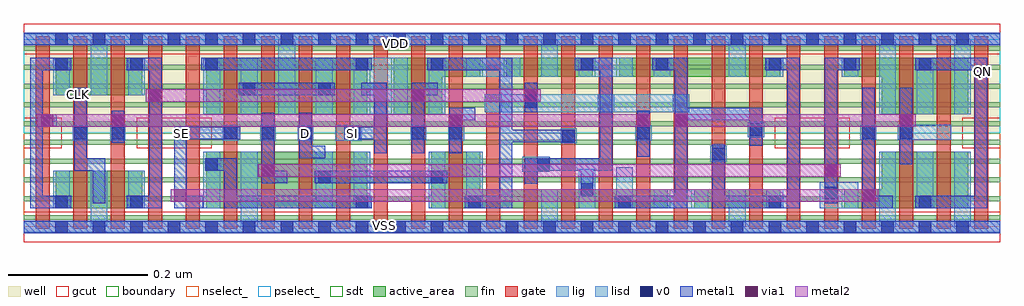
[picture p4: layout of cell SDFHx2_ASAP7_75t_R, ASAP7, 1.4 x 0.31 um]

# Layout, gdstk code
import gdstk
lib = gdstk.Library(unit=1e-6, precision=1e-09)
def R(c, l, rs):  # rectangles x0, y0, x1, y1
    for r in rs: c.add(gdstk.rectangle(r[:2], r[2:], *l))
def A(c, l, x, y, w, h, nx, ny, dx, dy):  # array of equal rectangles
    R(c, l, [(x+i*dx, y+j*dy, x+i*dx+w, y+j*dy+h) for i in range(nx) for j in range(ny)])
def P(c, l, *ps):  # polygons
    for p in ps: c.add(gdstk.Polygon(p, *l))
well = (1, 0)
fin = (2, 0)
gate = (7, 0)
gcut = (10, 0)
active_area = (11, 0)
nselect_ = (12, 0)
pselect_ = (13, 0)
lig = (16, 0)
lisd = (17, 0)
v0 = (18, 0)
metal1 = (19, 0)
metal2 = (20, 0)
via1 = (21, 0)
sdt = (88, 0)
boundary = (100, 0)

sdfhx2_asap7_75t_r = lib.new_cell('SDFHx2_ASAP7_75t_R')
R(sdfhx2_asap7_75t_r, well, [(0,0.135,1.404,0.27)])
A(sdfhx2_asap7_75t_r, fin, 0, 0.01, 1.404, 0.007, 1, 10, 0, 0.027)
A(sdfhx2_asap7_75t_r, gate, 0.017, -0.003, 0.02, 0.277, 25, 1, 0.054, 0)
R(sdfhx2_asap7_75t_r, gate, [(1.313,-0.003,1.333,0.274), (1.367,-0.003,1.387,0.274)])
R(sdfhx2_asap7_75t_r, gcut, [(0,-0.022,1.404,0.022), (0,0.113,0.054,0.157), (0.162,0.113,0.27,0.157), (1.08,0.113,1.188,0.157), (1.35,0.113,1.404,0.157), (0,0.248,1.404,0.292)])
R(sdfhx2_asap7_75t_r, active_area, [(0.046,0.027,0.17,0.081), (0.262,0.027,0.494,0.108), (0.964,0.027,1.088,0.054), (0.262,0.162,0.494,0.243), (0.046,0.189,0.17,0.243), (0.694,0.216,0.818,0.243), (0.856,0.216,1.088,0.243)])
P(sdfhx2_asap7_75t_r, active_area, [(0.532,0.162),(0.532,0.243),(0.656,0.243),(0.656,0.216),(0.602,0.216),(0.602,0.162)],
  [(0.586,0.027),(0.586,0.108),(0.656,0.108),(0.656,0.054),(0.926,0.054),(0.926,0.027)],
  [(1.234,0.162),(1.234,0.216),(1.18,0.216),(1.18,0.243),(1.358,0.243),(1.358,0.162)],
  [(1.18,0.027),(1.18,0.054),(1.234,0.054),(1.234,0.108),(1.358,0.108),(1.358,0.027)])
R(sdfhx2_asap7_75t_r, nselect_, [(0,0,1.404,0.135)])
R(sdfhx2_asap7_75t_r, pselect_, [(0,0.135,1.404,0.27)])
A(sdfhx2_asap7_75t_r, lig, 0.286, 0.124, 0.022, 0.022, 3, 1, 0.054, 0)
R(sdfhx2_asap7_75t_r, lig, [(0,-0.008,1.404,0.008), (0.717,0.079,0.756,0.101), (0.987,0.094,1.011,0.117), (0.772,0.12,0.795,0.142), (0.07,0.124,0.092,0.146), (0.124,0.124,0.146,0.146), (0.448,0.124,0.486,0.146), (0.61,0.124,0.633,0.146), (0.879,0.124,0.903,0.146), (0.556,0.125,0.579,0.146), (1.203,0.125,1.226,0.147), (1.257,0.125,1.334,0.147), (1.041,0.129,1.065,0.151), (0.663,0.165,0.687,0.191), (0.825,0.165,0.849,0.191), (0.933,0.165,0.957,0.191), (0,0.262,1.404,0.278)])
R(sdfhx2_asap7_75t_r, lisd, [(0.096,0,0.12,0.081), (0.312,0,0.336,0.108), (0.744,0,0.768,0.054), (1.014,0,1.038,0.054), (1.23,0,1.254,0.108), (1.338,0,1.362,0.108), (0.042,0.027,0.066,0.081), (0.15,0.027,0.174,0.081), (0.258,0.027,0.282,0.108), (0.42,0.027,0.444,0.108), (0.474,0.027,0.498,0.108), (0.582,0.027,0.606,0.108), (0.636,0.027,0.66,0.108), (0.798,0.027,0.822,0.083), (0.852,0.027,0.876,0.086), (0.906,0.027,0.984,0.054), (1.068,0.027,1.092,0.054), (1.145,0.027,1.2,0.064), (1.284,0.027,1.308,0.108), (0.258,0.162,0.282,0.243), (0.312,0.162,0.336,0.243), (0.366,0.162,0.39,0.27), (0.42,0.162,0.444,0.243), (0.474,0.162,0.552,0.243), (0.582,0.162,0.606,0.243), (1.23,0.162,1.254,0.27), (1.284,0.162,1.308,0.243), (1.338,0.162,1.362,0.27), (0.663,0.165,0.957,0.191), (0.042,0.189,0.066,0.243), (0.096,0.189,0.12,0.27), (0.15,0.189,0.174,0.243), (0.636,0.216,0.714,0.243), (0.744,0.216,0.768,0.27), (0.798,0.216,0.876,0.243), (0.906,0.216,0.93,0.243), (1.014,0.216,1.038,0.27), (1.068,0.216,1.092,0.243), (1.176,0.216,1.2,0.243)])
A(sdfhx2_asap7_75t_r, v0, 0.045, -0.009, 0.018, 0.018, 24, 2, 0.054, 0.27)
A(sdfhx2_asap7_75t_r, v0, 0.639, 0.027, 0.018, 0.018, 4, 1, 0.216, 0)
A(sdfhx2_asap7_75t_r, v0, 0.288, 0.126, 0.018, 0.018, 3, 1, 0.054, 0)
A(sdfhx2_asap7_75t_r, v0, 0.045, 0.225, 0.018, 0.018, 3, 1, 0.108, 0)
A(sdfhx2_asap7_75t_r, v0, 1.071, 0.225, 0.018, 0.018, 3, 1, 0.108, 0)
R(sdfhx2_asap7_75t_r, v0, [(1.287,-0.009,1.305,0.009), (1.341,-0.009,1.359,0.009), (0.045,0.027,0.063,0.045), (0.153,0.027,0.171,0.045), (0.477,0.027,0.495,0.045), (1.152,0.04,1.17,0.058), (0.801,0.045,0.819,0.063), (0.423,0.063,0.441,0.081), (0.585,0.063,0.603,0.081), (0.261,0.081,0.279,0.099), (0.738,0.081,0.756,0.099), (0.99,0.096,1.008,0.114), (0.774,0.122,0.792,0.14), (0.072,0.126,0.09,0.144), (0.126,0.126,0.144,0.144), (0.466,0.126,0.484,0.144), (0.558,0.126,0.576,0.144), (0.612,0.126,0.63,0.144), (0.882,0.126,0.9,0.144), (1.206,0.127,1.224,0.145), (1.26,0.127,1.278,0.145), (1.044,0.131,1.062,0.149), (0.72,0.171,0.738,0.189), (0.315,0.189,0.333,0.207), (0.423,0.189,0.441,0.207), (0.477,0.225,0.495,0.243), (0.585,0.225,0.603,0.243), (0.801,0.225,0.819,0.243), (0.909,0.225,0.927,0.243), (1.287,0.261,1.305,0.279), (1.341,0.261,1.359,0.279)])
R(sdfhx2_asap7_75t_r, metal1, [(0,-0.009,1.404,0.009), (0.418,0.063,0.609,0.081), (1.26,0.09,1.278,0.2), (0.882,0.101,0.9,0.167), (0.126,0.121,0.144,0.167), (0.72,0.165,0.738,0.207), (0.309,0.189,0.447,0.207), (0.255,0.225,0.5,0.243), (0,0.261,1.404,0.279)])
P(sdfhx2_asap7_75t_r, metal1, [(0.216,0.027),(0.216,0.144),(0.311,0.144),(0.311,0.126),(0.234,0.126),(0.234,0.045),(0.258,0.045),(0.258,0.027)],
  [(0.342,0.063),(0.342,0.164),(0.36,0.164),(0.36,0.081),(0.379,0.081),(0.379,0.063)],
  [(0.148,0.027),(0.148,0.045),(0.18,0.045),(0.18,0.225),(0.148,0.225),(0.148,0.243),(0.198,0.243),(0.198,0.027)],
  [(0.099,0.034),(0.099,0.081),(0.072,0.081),(0.072,0.2),(0.09,0.2),(0.09,0.099),(0.117,0.099),(0.117,0.034)],
  [(0.009,0.027),(0.009,0.243),(0.068,0.243),(0.068,0.225),(0.027,0.225),(0.027,0.162),(0.047,0.162),(0.047,0.144),(0.027,0.144),(0.027,0.045),(0.068,0.045),(0.068,0.027)],
  [(0.396,0.099),(0.396,0.164),(0.414,0.164),(0.414,0.117),(0.433,0.117),(0.433,0.099)],
  [(0.504,0.106),(0.504,0.126),(0.461,0.126),(0.461,0.144),(0.504,0.144),(0.504,0.189),(0.485,0.189),(0.485,0.207),(0.522,0.207),(0.522,0.106)],
  [(0.288,0.027),(0.288,0.081),(0.261,0.081),(0.261,0.099),(0.306,0.099),(0.306,0.045),(0.5,0.045),(0.5,0.027)],
  [(0.558,0.106),(0.558,0.207),(0.595,0.207),(0.595,0.189),(0.576,0.189),(0.576,0.106)],
  [(0.612,0.106),(0.612,0.171),(0.649,0.171),(0.649,0.153),(0.63,0.153),(0.63,0.106)],
  [(0.634,0.027),(0.634,0.045),(0.684,0.045),(0.684,0.225),(0.58,0.225),(0.58,0.243),(0.702,0.243),(0.702,0.14),(0.792,0.14),(0.792,0.122),(0.702,0.122),(0.702,0.027)],
  [(0.801,0.045),(0.801,0.081),(0.738,0.081),(0.738,0.062),(0.72,0.062),(0.72,0.099),(0.828,0.099),(0.828,0.225),(0.792,0.225),(0.792,0.243),(0.846,0.243),(0.846,0.081),(0.819,0.081),(0.819,0.045)],
  [(0.85,0.027),(0.85,0.045),(0.936,0.045),(0.936,0.225),(0.904,0.225),(0.904,0.243),(0.954,0.243),(0.954,0.171),(1.062,0.171),(1.062,0.117),(1.044,0.117),(1.044,0.153),(0.954,0.153),(0.954,0.027)],
  [(0.99,0.027),(0.99,0.119),(1.008,0.119),(1.008,0.045),(1.098,0.045),(1.098,0.225),(1.066,0.225),(1.066,0.243),(1.116,0.243),(1.116,0.027)],
  [(1.206,0.027),(1.206,0.2),(1.224,0.2),(1.224,0.045),(1.25,0.045),(1.25,0.027)],
  [(1.152,0.034),(1.152,0.243),(1.202,0.243),(1.202,0.225),(1.17,0.225),(1.17,0.034)],
  [(1.282,0.027),(1.282,0.045),(1.368,0.045),(1.368,0.225),(1.282,0.225),(1.282,0.243),(1.386,0.243),(1.386,0.027)])
R(sdfhx2_asap7_75t_r, metal2, [(0.211,0.036,1.229,0.054), (0.337,0.072,1.175,0.09), (0.019,0.144,0.9,0.162), (0.936,0.144,1.283,0.162), (0.175,0.18,0.743,0.198)])
R(sdfhx2_asap7_75t_r, via1, [(0.216,0.036,0.234,0.054), (1.206,0.036,1.224,0.054), (0.342,0.072,0.36,0.09), (1.152,0.072,1.17,0.09), (0.024,0.144,0.042,0.162), (0.126,0.144,0.144,0.162), (0.612,0.144,0.63,0.162), (0.882,0.144,0.9,0.162), (0.936,0.144,0.954,0.162), (1.26,0.144,1.278,0.162), (0.18,0.18,0.198,0.198), (0.558,0.18,0.576,0.198), (0.72,0.18,0.738,0.198)])
A(sdfhx2_asap7_75t_r, sdt, 0.042, 0.027, 0.024, 0.054, 3, 2, 0.054, 0.162)
A(sdfhx2_asap7_75t_r, sdt, 0.744, 0.027, 0.024, 0.027, 7, 1, 0.054, 0)
A(sdfhx2_asap7_75t_r, sdt, 1.23, 0.027, 0.024, 0.081, 3, 2, 0.054, 0.135)
A(sdfhx2_asap7_75t_r, sdt, 0.258, 0.162, 0.024, 0.081, 7, 1, 0.054, 0)
A(sdfhx2_asap7_75t_r, sdt, 0.636, 0.216, 0.024, 0.027, 6, 1, 0.054, 0)
R(sdfhx2_asap7_75t_r, sdt, [(0.258,0.027,0.282,0.108), (0.312,0.027,0.336,0.108), (0.42,0.027,0.444,0.108), (0.474,0.027,0.498,0.108), (0.582,0.027,0.606,0.108), (0.636,0.027,0.66,0.108), (1.176,0.027,1.2,0.054), (1.014,0.216,1.038,0.243), (1.068,0.216,1.092,0.243), (1.176,0.216,1.2,0.243)])
R(sdfhx2_asap7_75t_r, boundary, [(0,0,1.404,0.27)])
sdfhx2_asap7_75t_r.add(gdstk.Label('CLK', (0.078,0.19), layer=19, texttype=251))
sdfhx2_asap7_75t_r.add(gdstk.Label('D', (0.405,0.134), layer=19, texttype=251))
sdfhx2_asap7_75t_r.add(gdstk.Label('SE', (0.227,0.134), layer=19, texttype=251))
sdfhx2_asap7_75t_r.add(gdstk.Label('VSS', (0.518,0.002), layer=19, texttype=251))
sdfhx2_asap7_75t_r.add(gdstk.Label('SI', (0.473,0.135), layer=19, texttype=251))
sdfhx2_asap7_75t_r.add(gdstk.Label('VDD', (0.534,0.264), layer=19, texttype=251))
sdfhx2_asap7_75t_r.add(gdstk.Label('QN', (1.379,0.223), layer=19, texttype=251))
sdfhx2_asap7_75t_r.add(gdstk.Label('VDD', (1.371,0.207), layer=1, texttype=251))
sdfhx2_asap7_75t_r.add(gdstk.Label('VSS', (1.44,0.206), layer=3, texttype=251))

lib.write_gds('SDFHx2_ASAP7_75t_R.gds')
